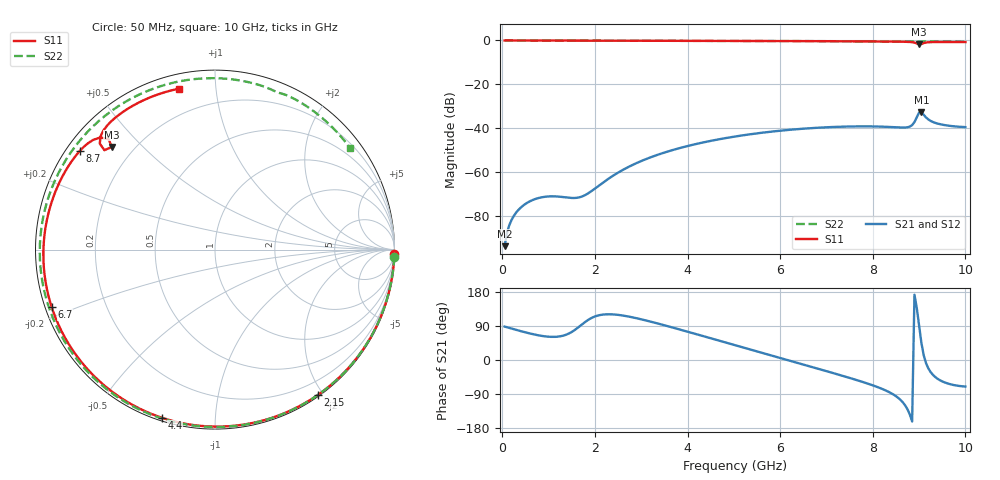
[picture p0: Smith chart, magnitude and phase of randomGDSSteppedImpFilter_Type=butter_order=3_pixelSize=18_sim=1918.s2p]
! freq	dB(S11)	phase(S11)	dB(S12)	phase(S12)
!  dB(S21)	phase(S21)	dB(S22)	phase(S22)
!S-par simulation data
#  GHz  S  DB  R 50
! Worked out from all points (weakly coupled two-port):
!   200 points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, 50 MHz to 10 GHz, reference 50 ohm
!   highest |S21| = -32.60 dB at 9.05 GHz (marker M1); lowest = -93.5 dB at 50 MHz (marker M2)
!   lowest |S11| = -1.8 dB at 9 GHz (marker M3), VSWR 9.55, Z = 6.12 + j20.4 ohm
!   |S11| at or under -10 dB: nowhere
!   |S22| runs from -0.5 to 0.0 dB; largest |S21 - S12| = 0
!   S11 on the Smith chart (normalised r, x): 50 MHz: 0, -87; 2.15 GHz: 0.02, -1.94; 4.4 GHz: 0.01, -0.73; 6.7 GHz: 0.02, -0.17; 8.7 GHz: 0.04, +0.32; 10 GHz: 0.07, +0.80
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0.05  -0.00 -1.3  -93.50 88.2  -93.50 88.2  -0.00 -2.3
0.25  -0.01 -6.5  -79.71 81.2  -79.71 81.2  -0.02 -11.6
0.5  -0.02 -13.0  -74.29 72.9  -74.29 72.9  -0.03 -23.1
0.8  -0.03 -20.7  -71.52 64.7  -71.52 64.7  -0.05 -36.6
1.3  -0.04 -33.4  -71.16 63.8  -71.16 63.8  -0.07 -58.2
1.75  -0.06 -44.7  -70.68 96.7  -70.68 96.7  -0.09 -76.5
2.15  -0.07 -54.6  -64.97 119.5  -64.97 119.5  -0.10 -91.7
2.7  -0.09 -67.9  -57.75 115.3  -57.75 115.3  -0.12 -111.1
3.4  -0.11 -84.5  -51.64 95.0  -51.64 95.0  -0.14 -133.6
4.4  -0.15 -107.5  -46.07 60.9  -46.07 60.9  -0.18 -162.7
5.05  -0.19 -122.3  -43.58 38.3  -43.58 38.3  -0.21 179.5
5.85  -0.24 -140.6  -41.35 10.6  -41.35 10.6  -0.25 158.0
6.7  -0.31 -160.6  -39.81 -18.9  -39.81 -18.9  -0.30 135.0
7.55  -0.40 177.9  -39.09 -49.1  -39.09 -49.1  -0.35 111.2
8.35  -0.51 155.4  -39.30 -84.5  -39.30 -84.5  -0.41 87.8
8.7  -0.61 144.0  -39.57 -119.9  -39.57 -119.9  -0.44 77.2
8.85  -0.79 138.0  -38.47 -162.3  -38.47 -162.3  -0.47 72.6
9  -1.83 135.1  -32.77 91.8  -32.77 91.8  -0.52 68.3
9.05  -1.63 138.0  -32.60 45.3  -32.60 45.3  -0.49 66.9
9.2  -0.82 133.0  -35.90 -22.2  -35.90 -22.2  -0.46 62.1
9.35  -0.71 126.9  -37.48 -45.1  -37.48 -45.1  -0.47 57.3
10  -0.74 102.6  -39.39 -70.1  -39.39 -70.1  -0.53 36.8
